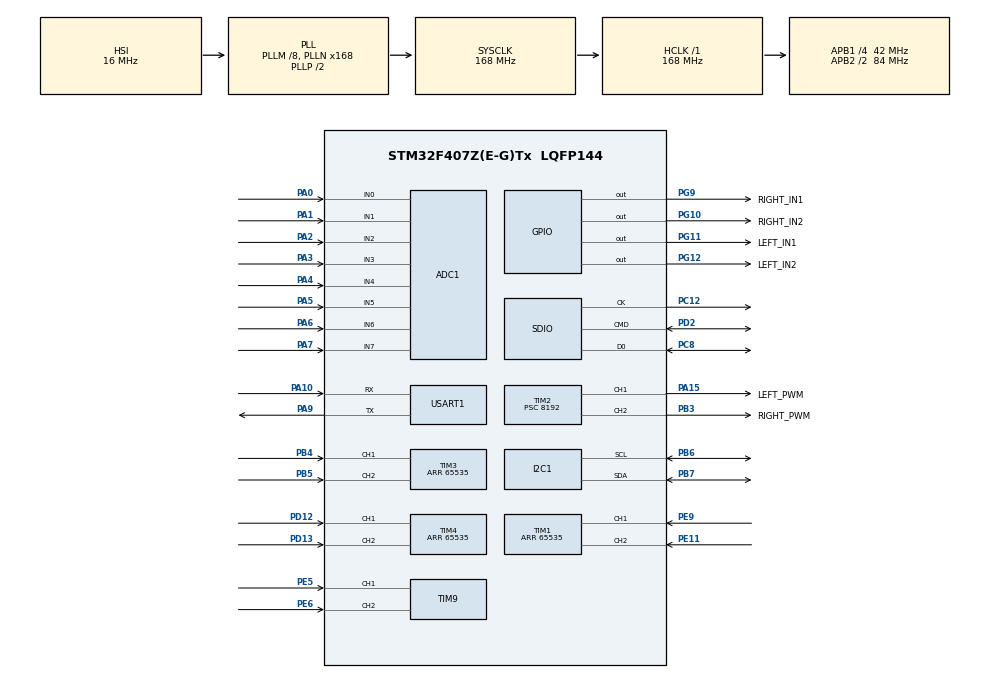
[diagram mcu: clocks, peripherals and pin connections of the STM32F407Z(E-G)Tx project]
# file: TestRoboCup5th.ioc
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ADC1.Channel-0\#ChannelRegularConversion=ADC_CHANNEL_0
ADC1.NbrOfConversionFlag=1
ADC1.Rank-0\#ChannelRegularConversion=1
ADC1.SamplingTime-0\#ChannelRegularConversion=ADC_SAMPLETIME_3CYCLES
ADC1.master=1
I2C1.I2C_Mode=I2C_Fast
Mcu.Family=STM32F4
Mcu.Name=STM32F407Z(E-G)Tx
Mcu.Package=LQFP144
NVIC.PriorityGroup=NVIC_PRIORITYGROUP_4
PA0-WKUP.Signal=ADCx_IN0
PA1.Signal=ADCx_IN1
PA10.Mode=Asynchronous
PA10.Signal=USART1_RX
PA13.Mode=Serial_Wire
PA13.Signal=SYS_JTMS-SWDIO
PA14.Mode=Serial_Wire
PA14.Signal=SYS_JTCK-SWCLK
PA15.GPIO_Label=LEFT_PWM
PA15.Signal=S_TIM2_CH1_ETR
PA2.Signal=ADCx_IN2
PA3.Signal=ADCx_IN3
PA4.Signal=ADCx_IN4
PA5.Signal=ADCx_IN5
PA6.Signal=ADCx_IN6
PA7.Signal=ADCx_IN7
PA9.Mode=Asynchronous
PA9.Signal=USART1_TX
PB3.GPIO_Label=RIGHT_PWM
PB3.Signal=S_TIM2_CH2
PB4.Signal=S_TIM3_CH1
PB5.Signal=S_TIM3_CH2
PB6.Mode=I2C
PB6.Signal=I2C1_SCL
PB7.Mode=I2C
PB7.Signal=I2C1_SDA
PC12.Mode=SD_1_bit
PC12.Signal=SDIO_CK
PC14-OSC32_IN.Mode=LSE-External-Oscillator
PC14-OSC32_IN.Signal=RCC_OSC32_IN
PC15-OSC32_OUT.Mode=LSE-External-Oscillator
PC15-OSC32_OUT.Signal=RCC_OSC32_OUT
PC8.Mode=SD_1_bit
PC8.Signal=SDIO_D0
PD12.Signal=S_TIM4_CH1
PD13.Signal=S_TIM4_CH2
PD2.Mode=SD_1_bit
PD2.Signal=SDIO_CMD
PE11.Signal=S_TIM1_CH2
PE5.Signal=S_TIM9_CH1
PE6.Signal=S_TIM9_CH2
PE9.Signal=S_TIM1_CH1
PG10.GPIO_Label=RIGHT_IN2
PG10.PinState=GPIO_PIN_SET
PG10.Signal=GPIO_Output
PG11.GPIO_Label=LEFT_IN1
PG11.PinState=GPIO_PIN_SET
PG11.Signal=GPIO_Output
PG12.GPIO_Label=LEFT_IN2
PG12.PinState=GPIO_PIN_SET
PG12.Signal=GPIO_Output
PG9.GPIO_Label=RIGHT_IN1
PG9.PinState=GPIO_PIN_SET
PG9.Signal=GPIO_Output
PH0-OSC_IN.Mode=HSE-External-Clock-Source
PH0-OSC_IN.Signal=RCC_OSC_IN
PH1-OSC_OUT.Mode=HSE-External-Clock-Source
PH1-OSC_OUT.Signal=RCC_OSC_OUT
ProjectManager.HeapSize=0x200
ProjectManager.StackSize=0x400
ProjectManager.TargetToolchain=MDK-ARM V5
RCC.48MHZClocksFreq_Value=48000000
RCC.AHBFreq_Value=168000000
RCC.APB1CLKDivider=RCC_HCLK_DIV4
RCC.APB1Freq_Value=42000000
RCC.APB1TimFreq_Value=84000000
RCC.APB2CLKDivider=RCC_HCLK_DIV2
RCC.APB2Freq_Value=84000000
RCC.APB2TimFreq_Value=168000000
RCC.CortexFreq_Value=168000000
RCC.HCLKFreq_Value=168000000
RCC.HSE_VALUE=25000000
RCC.HSI_VALUE=16000000
RCC.PLLM=8
RCC.PLLN=168
RCC.PLLQ=7
RCC.SYSCLKFreq_VALUE=168000000
RCC.SYSCLKSource=RCC_SYSCLKSOURCE_PLLCLK
RCC.VCOOutputFreq_Value=336000000
SH.ADCx_IN0.0=ADC1_IN0,IN0
SH.ADCx_IN1.0=ADC1_IN1,IN1
SH.ADCx_IN2.0=ADC1_IN2,IN2
SH.ADCx_IN3.0=ADC1_IN3,IN3
SH.ADCx_IN4.0=ADC1_IN4,IN4
SH.ADCx_IN5.0=ADC1_IN5,IN5
SH.ADCx_IN6.0=ADC1_IN6,IN6
SH.ADCx_IN7.0=ADC1_IN7,IN7
SH.S_TIM1_CH1.0=TIM1_CH1,Input_Capture1_from_TI1
SH.S_TIM1_CH2.0=TIM1_CH2,Input_Capture2_from_TI2
SH.S_TIM2_CH1_ETR.0=TIM2_CH1,PWM Generation1 CH1
SH.S_TIM2_CH2.0=TIM2_CH2,PWM Generation2 CH2
SH.S_TIM3_CH1.0=TIM3_CH1,Input_Capture1_from_TI1
SH.S_TIM3_CH2.0=TIM3_CH2,Input_Capture2_from_TI2
SH.S_TIM4_CH1.0=TIM4_CH1,Input_Capture1_from_TI1
SH.S_TIM4_CH2.0=TIM4_CH2,Input_Capture2_from_TI2
SH.S_TIM9_CH1.0=TIM9_CH1,Input_Capture1_from_TI1
SH.S_TIM9_CH2.0=TIM9_CH2,Input_Capture2_from_TI2
TIM1.Channel-Input_Capture1_from_TI1=TIM_CHANNEL_1
TIM1.Channel-Input_Capture2_from_TI2=TIM_CHANNEL_2
TIM1.Period=65535
TIM2.Channel-PWM\ Generation1\ CH1=TIM_CHANNEL_1
TIM2.Channel-PWM\ Generation2\ CH2=TIM_CHANNEL_2
TIM2.Period=999
TIM2.Prescaler=8192
TIM2.Pulse-PWM\ Generation1\ CH1=999
TIM2.Pulse-PWM\ Generation2\ CH2=999
TIM3.Channel-Input_Capture1_from_TI1=TIM_CHANNEL_1
TIM3.Channel-Input_Capture2_from_TI2=TIM_CHANNEL_2
TIM3.Period=65535
TIM4.Channel-Input_Capture1_from_TI1=TIM_CHANNEL_1
TIM4.Channel-Input_Capture2_from_TI2=TIM_CHANNEL_2
TIM4.Period=65535
TIM9.Channel-Input_Capture1_from_TI1=TIM_CHANNEL_1
TIM9.Channel-Input_Capture2_from_TI2=TIM_CHANNEL_2
USART1.VirtualMode=VM_ASYNC
VP_TIM2_VS_ClockSourceINT.Mode=Internal
board=custom

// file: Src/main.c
/* USER CODE BEGIN Header */
/**
  ******************************************************************************
  * @file           : main.c
  * @brief          : Main program body
  ******************************************************************************
  * @attention
  *
  * <h2><center>&copy; Copyright (c) 2019 STMicroelectronics.
  * All rights reserved.</center></h2>
  *
  * This software component is licensed by ST under Ultimate Liberty license
  * SLA0044, the "License"; You may not use this file except in compliance with
  * the License. You may obtain a copy of the License at:
  *                             www.st.com/SLA0044
  *
  ******************************************************************************
  */
/* USER CODE END Header */

#include "main.h"
#include "adc.h"
#include "i2c.h"
#include "sdio.h"
#include "tim.h"
#include "usart.h"
#include "gpio.h"

/* USER CODE BEGIN Includes */
#include "EncoderInit.h"
#include "motor.h"
/* USER CODE END Includes */

void SystemClock_Config(void);

int main(void)
{
  /* USER CODE BEGIN 1 */
	SCB->VTOR = (FLASH_BASE | 0x10000);
  /* USER CODE END 1 */

  /* MCU Configuration--------------------------------------------------------*/

  /* Reset of all peripherals, Initializes the Flash interface and the Systick. */
  HAL_Init();

  /* Configure the system clock */
  SystemClock_Config();

  /* Initialize all configured peripherals */
  MX_GPIO_Init();
  MX_TIM2_Init();
  MX_I2C1_Init();
  MX_SDIO_SD_Init();
  MX_USART1_UART_Init();
  MX_TIM1_Init();
  MX_TIM3_Init();
  MX_TIM4_Init();
  MX_ADC1_Init();
  MX_TIM9_Init();
  /* USER CODE BEGIN 2 */
	EncoderInit();
	SpeedForward(999,999);
	HAL_Delay(6000);
	Stop();
	HAL_Delay(4000);
	SpeedBack(999,999);
	HAL_Delay(6000);
	Stop();
	HAL_Delay(4000);
	TurnLeft(999,999);
	HAL_Delay(6000);
	Stop();
	HAL_Delay(4000);
	TurnRight(999,999);
	HAL_Delay(6000);
	Stop();
	HAL_Delay(4000);

	SpeedForward(999,999);
	HAL_Delay(4000);
	SuspendedTurnLeft(999);
	HAL_Delay(6000);
	Stop();
	HAL_Delay(4000);
	SpeedForward(999,999);
	HAL_Delay(4000);
	SuspendedTurnRight(999);
	HAL_Delay(6000);
	Stop();
	HAL_Delay(4000);
	SpeedForward(999,999);
	HAL_Delay(4000);
	BrakeTurnLeft(999);
	HAL_Delay(6000);
	Stop();
	HAL_Delay(4000);
	SpeedForward(999,999);
	HAL_Delay(4000);
	BrakeTurnRight(999);
	HAL_Delay(6000);
	Stop();
  /* USER CODE END 2 */

  /* Infinite loop */
  while (1)
  {

  }
}

void SystemClock_Config(void)
{
  RCC_OscInitTypeDef RCC_OscInitStruct = {0};
  RCC_ClkInitTypeDef RCC_ClkInitStruct = {0};

  /** Configure the main internal regulator output voltage
  */
  __HAL_RCC_PWR_CLK_ENABLE();
  __HAL_PWR_VOLTAGESCALING_CONFIG(PWR_REGULATOR_VOLTAGE_SCALE1);
  /** Initializes the CPU, AHB and APB busses clocks
  */
  RCC_OscInitStruct.OscillatorType = RCC_OSCILLATORTYPE_HSI;
  RCC_OscInitStruct.HSIState = RCC_HSI_ON;
  RCC_OscInitStruct.HSICalibrationValue = RCC_HSICALIBRATION_DEFAULT;
  RCC_OscInitStruct.PLL.PLLState = RCC_PLL_ON;
  RCC_OscInitStruct.PLL.PLLSource = RCC_PLLSOURCE_HSI;
  RCC_OscInitStruct.PLL.PLLM = 8;
  RCC_OscInitStruct.PLL.PLLN = 168;
  RCC_OscInitStruct.PLL.PLLP = RCC_PLLP_DIV2;
  RCC_OscInitStruct.PLL.PLLQ = 7;
  if (HAL_RCC_OscConfig(&RCC_OscInitStruct) != HAL_OK)
  {
    Error_Handler();
  }
  /** Initializes the CPU, AHB and APB busses clocks
  */
  RCC_ClkInitStruct.ClockType = RCC_CLOCKTYPE_HCLK|RCC_CLOCKTYPE_SYSCLK
                              |RCC_CLOCKTYPE_PCLK1|RCC_CLOCKTYPE_PCLK2;
  RCC_ClkInitStruct.SYSCLKSource = RCC_SYSCLKSOURCE_PLLCLK;
  RCC_ClkInitStruct.AHBCLKDivider = RCC_SYSCLK_DIV1;
  RCC_ClkInitStruct.APB1CLKDivider = RCC_HCLK_DIV4;
  RCC_ClkInitStruct.APB2CLKDivider = RCC_HCLK_DIV2;

  if (HAL_RCC_ClockConfig(&RCC_ClkInitStruct, FLASH_LATENCY_5) != HAL_OK)
  {
    Error_Handler();
  }
}

void Error_Handler(void)
{
}

/************************ (C) COPYRIGHT STMicroelectronics *****END OF FILE****/
